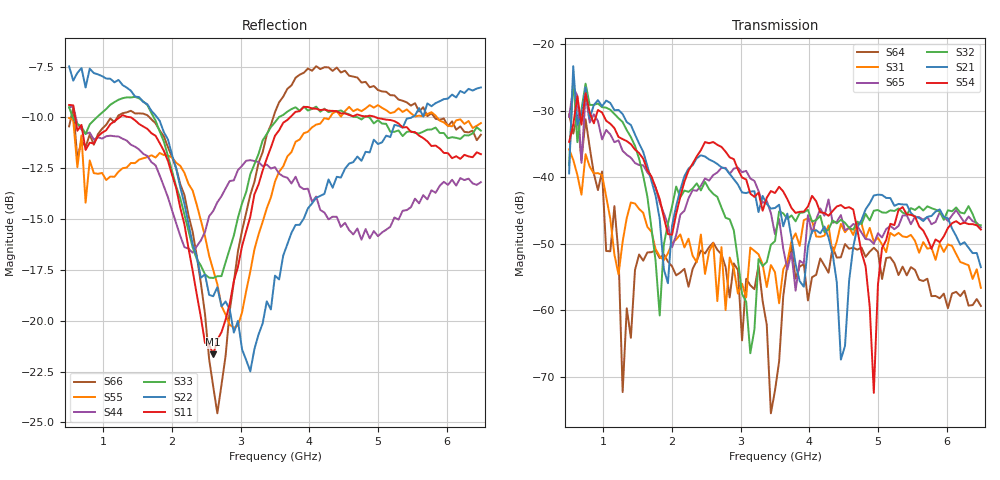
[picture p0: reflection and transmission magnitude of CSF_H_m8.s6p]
!Keysight Technologies,M9804A,MY58100912,A.14.10.03
!Date: Thursday, April 27, 2023 10:28:33
!Correction: S11(C  6-Port  )
!S12(C  6-Port  )
!S13(C  6-Port  )
!S14(C  6-Port  )
!S15(C  6-Port  )
!S16(C  6-Port  )
!S21(C  6-Port  )
!S22(C  6-Port  )
!S23(C  6-Port  )
!S24(C  6-Port  )
!S25(C  6-Port  )
!S26(C  6-Port  )
!S31(C  6-Port  )
!S32(C  6-Port  )
!S33(C  6-Port  )
!S34(C  6-Port  )
!S35(C  6-Port  )
!S36(C  6-Port  )
!S41(C  6-Port  )
!S42(C  6-Port  )
!S43(C  6-Port  )
!S44(C  6-Port  )
!S45(C  6-Port  )
!S46(C  6-Port  )
!S51(C  6-Port  )
!S52(C  6-Port  )
!S53(C  6-Port  )
!S54(C  6-Port  )
!S55(C  6-Port  )
!S56(C  6-Port  )
!S61(C  6-Port  )
!S62(C  6-Port  )
!S63(C  6-Port  )
!S64(C  6-Port  )
!S65(C  6-Port  )
!S66(C  6-Port  )
!S6P File: Measurement: :
# Hz S  RI  R 50
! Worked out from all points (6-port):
!   101 points, 500 MHz to 6.5 GHz, reference 50 ohm
!   strongest paths, dB at 500 MHz, 2 GHz, 3.5 GHz, 5 GHz, 6.5 GHz:
!     S54: -34.7, -48.6, -42.4, -56.1, -47.9
!     S21: -39.4, -47.3, -44.6, -42.6, -53.5
!     S32: -38.2, -44.4, -49.6, -44.9, -47.2
!     S65: -30.9, -50.5, -48.6, -48.4, -47.5
!     S31: -35.8, -49.9, -54.3, -49.1, -56.6
!     S64: -30.5, -53.4, -72.1, -51.2, -59.4
!   lowest |S11| = -21.7 dB at 2.6 GHz (marker M1), VSWR 1.18, Z = 42.6 + j2 ohm
!   |S11| at or under -10 dB: 588.4 MHz to 1.236 GHz (647.2 MHz wide, 71 % of centre); 1.401 GHz to 3.719 GHz (2.318 GHz wide, 90.5 % of centre); 4.972 GHz to end of sweep
